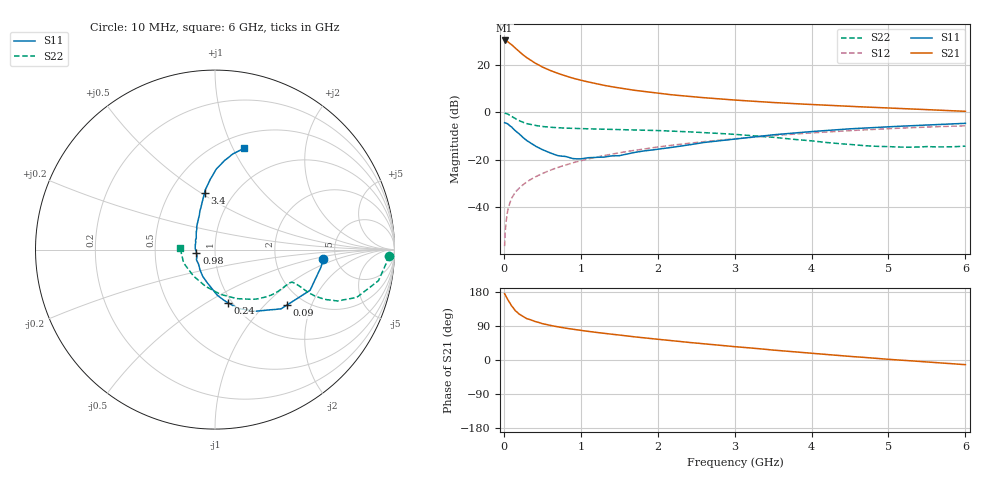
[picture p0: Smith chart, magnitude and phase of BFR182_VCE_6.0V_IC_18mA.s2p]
! Infineon Technologies  Discrete & RF Semiconductors
! BFR182
! VCE =  6.0 V,  IC =  18 mA
! Common Emitter S-Parameters:  Nov 2015
# GHz  S  MA  R  50
!  f  S11  S21  S12  S22
! GHz  MAG  ANG  MAG  ANG  MAG  ANG  MAG  ANG
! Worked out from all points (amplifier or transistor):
!   210 points, 10 MHz to 6 GHz, reference 50 ohm
!   highest |S21| = 30.4 dB at 10 MHz (marker M1)
!   |S21| within 3 dB of that: start of sweep to 141.5 MHz
!   unconditionally stable (mu >= 1): 645.6 MHz to 2.584 GHz
!   at 185 MHz: K = 0.65, MSG = 29.3 dB, |S12| = -32.4 dB
!   at 1.52 GHz: K = 1.04, MAG = 12.3 dB, |S12| = -16.9 dB
!   at 6 GHz: K = 0.89, MSG = 3.1 dB, |S12| = -5.7 dB
!   S11 on the Smith chart (normalised r, x): 10 MHz: 3.97, -0.64; 90 MHz: 1.63, -1.36; 240 MHz: 0.96, -0.62; 980 MHz: 0.81, -0.03; 3.4 GHz: 0.73, +0.52; 6 GHz: 0.64, +1.11
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0.01  0.6062 -4.8  33.08 175.1  0.0015 87.2  0.9687 -2.0
0.02  0.5987 -9.3  32.7 170.9  0.0033 87.7  0.9575 -4.5
0.05  0.5762 -23.2  31.23 159.4  0.0084 80.1  0.9269 -10.8
0.09  0.5059 -37.7  27.76 146.6  0.0138 74.5  0.851 -16.9
0.1  0.4942 -41.9  27.14 142.9  0.0152 73.7  0.8337 -18.6
0.15  0.4101 -56.9  22.77 129.8  0.0209 71.5  0.7397 -22.8
0.2  0.352 -68.5  19.25 121.1  0.0253 70.7  0.6702 -24.4
0.24  0.3047 -76.4  16.93 115.8  0.0288 69.9  0.6284 -24.8
0.3  0.2538 -87.3  14.23 109.0  0.0343 71.0  0.5801 -24.8
0.4  0.1986 -100.4  11.17 102.0  0.0427 71.4  0.5339 -23.9
0.5  0.164 -114.6  9.098 96.0  0.0511 72.1  0.5049 -23.2
0.7  0.1227 -138.1  6.699 87.5  0.0687 72.7  0.4752 -22.9
0.8  0.1179 -151.5  5.89 84.1  0.0773 72.1  0.4666 -22.9
0.98  0.1045 -171.1  4.878 78.7  0.0934 71.7  0.4562 -23.9
1.02  0.1057 -175.8  4.702 77.6  0.0969 71.6  0.4543 -24.2
1.4  0.1208 153.8  3.491 68.1  0.1308 69.4  0.4392 -27.9
2.02  0.1686 126.5  2.524 54.4  0.1877 64.2  0.4134 -36.1
3.1  0.2843 104.0  1.782 33.6  0.2871 53.5  0.3343 -55.7
3.4  0.3233 100.3  1.658 28.2  0.3146 50.3  0.3066 -63.3
4.1  0.4053 92.6  1.443 16.1  0.378 42.2  0.2408 -86.7
5.1  0.5065 83.0  1.224 0.5  0.4617 30.0  0.1865 -134.7
6  0.589 73.9  1.055 -12.3  0.5214 17.9  0.194 178.0
